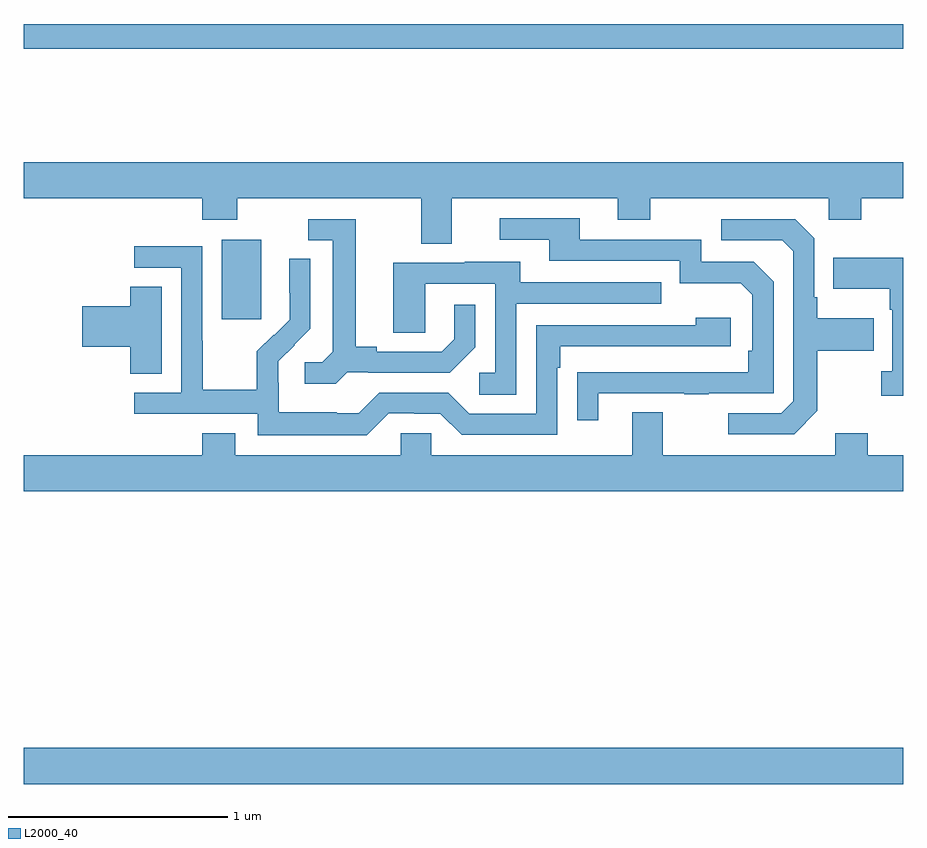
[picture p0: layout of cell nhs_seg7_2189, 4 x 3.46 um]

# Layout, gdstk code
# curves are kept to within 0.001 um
import gdstk
lib = gdstk.Library(unit=1e-6, precision=1e-09)
def R(c, l, rs):  # rectangles x0, y0, x1, y1
    for r in rs: c.add(gdstk.rectangle(r[:2], r[2:], *l))
def P(c, l, *ps):  # polygons
    for p in ps: c.add(gdstk.Polygon(p, *l))
L2000_40 = (2000, 40)

nhs_seg7_2189 = lib.new_cell('nhs_seg7_2189')
R(nhs_seg7_2189, L2000_40, [(253,1072.544,257,1072.708), (253.901,1074.657,254.08,1075.018), (253,1075.888,257,1076)])
P(nhs_seg7_2189, L2000_40, [(254.947,1075.208),(255.701,1075.208),(255.701,1075.109),(255.849,1075.109),(255.849,1075.208),(256.662,1075.208),(256.662,1075.109),(256.809,1075.109),(256.809,1075.208),(257,1075.208),(257,1075.372),(253,1075.372),(253,1075.208),(253.811,1075.208),(253.811,1075.109),(253.971,1075.109),(253.971,1075.208),(254.807,1075.208),(254.807,1075),(254.947,1075)],
  [(255.613,1074.321),(256.003,1074.321),(256.003,1074.316),(256.115,1074.316),(256.115,1074.321),(256.41,1074.321),(256.41,1074.828),(256.32,1074.918),(256.08,1074.918),(256.08,1075.02),(255.529,1075.02),(255.529,1075.116),(255.165,1075.116),(255.165,1075.02),(255.389,1075.02),(255.389,1074.924),(255.984,1074.924),(255.984,1074.821),(256.261,1074.821),(256.314,1074.768),(256.314,1074.514),(256.294,1074.514),(256.294,1074.417),(255.517,1074.416),(255.517,1074.198),(255.613,1074.198)],
  [(254.472,1074.417),(254.566,1074.417),(254.566,1074.414),(254.938,1074.414),(255.054,1074.53),(255.054,1074.724),(254.957,1074.724),(254.957,1074.567),(254.9,1074.51),(254.605,1074.51),(254.605,1074.533),(254.509,1074.533),(254.509,1075.113),(254.295,1075.113),(254.295,1075.017),(254.405,1075.017),(254.405,1074.509),(254.358,1074.462),(254.277,1074.462),(254.277,1074.365),(254.42,1074.365)],
  [(256.609,1074.241),(256.609,1074.514),(256.865,1074.514),(256.865,1074.661),(256.609,1074.661),(256.609,1074.757),(256.596,1074.757),(256.596,1075.026),(256.509,1075.113),(256.173,1075.113),(256.173,1075.017),(256.449,1075.017),(256.5,1074.966),(256.5,1074.285),(256.446,1074.231),(256.203,1074.231),(256.203,1074.135),(256.503,1074.135)],
  [(254.661,1074.231),(254.777,1074.231),(254.777,1074.228),(254.895,1074.228),(254.991,1074.132),(255.426,1074.132),(255.426,1074.437),(255.439,1074.437),(255.439,1074.534),(256.216,1074.534),(256.216,1074.664),(256.055,1074.664),(256.055,1074.63),(255.33,1074.63),(255.33,1074.228),(255.027,1074.228),(254.931,1074.324),(254.616,1074.324),(254.523,1074.231),(254.423,1074.231),(254.423,1074.235),(254.16,1074.235),(254.16,1074.369),(254.158,1074.369),(254.158,1074.466),(254.304,1074.614),(254.304,1074.932),(254.208,1074.932),(254.208,1074.778),(254.21,1074.778),(254.21,1074.656),(254.139,1074.585),(254.136,1074.588),(254.059,1074.511),(254.059,1074.337),(253.815,1074.337),(253.815,1074.56),(253.812,1074.56),(253.812,1074.99),(253.503,1074.99),(253.503,1074.891),(253.716,1074.891),(253.716,1074.324),(253.503,1074.324),(253.503,1074.228),(254.064,1074.228),(254.064,1074.131),(254.561,1074.131)],
  [(257,1074.937),(256.681,1074.937),(256.681,1074.797),(256.938,1074.797),(256.938,1074.701),(256.95,1074.701),(256.95,1074.422),(256.899,1074.422),(256.899,1074.309),(257,1074.309)],
  [(255.24,1074.729),(255.899,1074.729),(255.899,1074.825),(255.259,1074.825),(255.259,1074.919),(255.005,1074.919),(255.005,1074.915),(254.681,1074.915),(254.681,1074.595),(254.826,1074.595),(254.826,1074.819),(255.144,1074.819),(255.144,1074.414),(255.072,1074.414),(255.072,1074.313),(255.24,1074.313)],
  [(253.627,1074.806),(253.484,1074.806),(253.484,1074.716),(253.266,1074.716),(253.266,1074.533),(253.484,1074.533),(253.484,1074.409),(253.627,1074.409)],
  [(257,1074.04),(256.839,1074.04),(256.839,1074.139),(256.691,1074.139),(256.691,1074.04),(255.907,1074.04),(255.907,1074.235),(255.767,1074.235),(255.767,1074.04),(254.853,1074.04),(254.853,1074.138),(254.715,1074.138),(254.715,1074.04),(253.963,1074.04),(253.963,1074.139),(253.811,1074.139),(253.811,1074.04),(253,1074.04),(253,1073.876),(257,1073.876)])

lib.write_gds('nhs_seg7_2189.gds')
